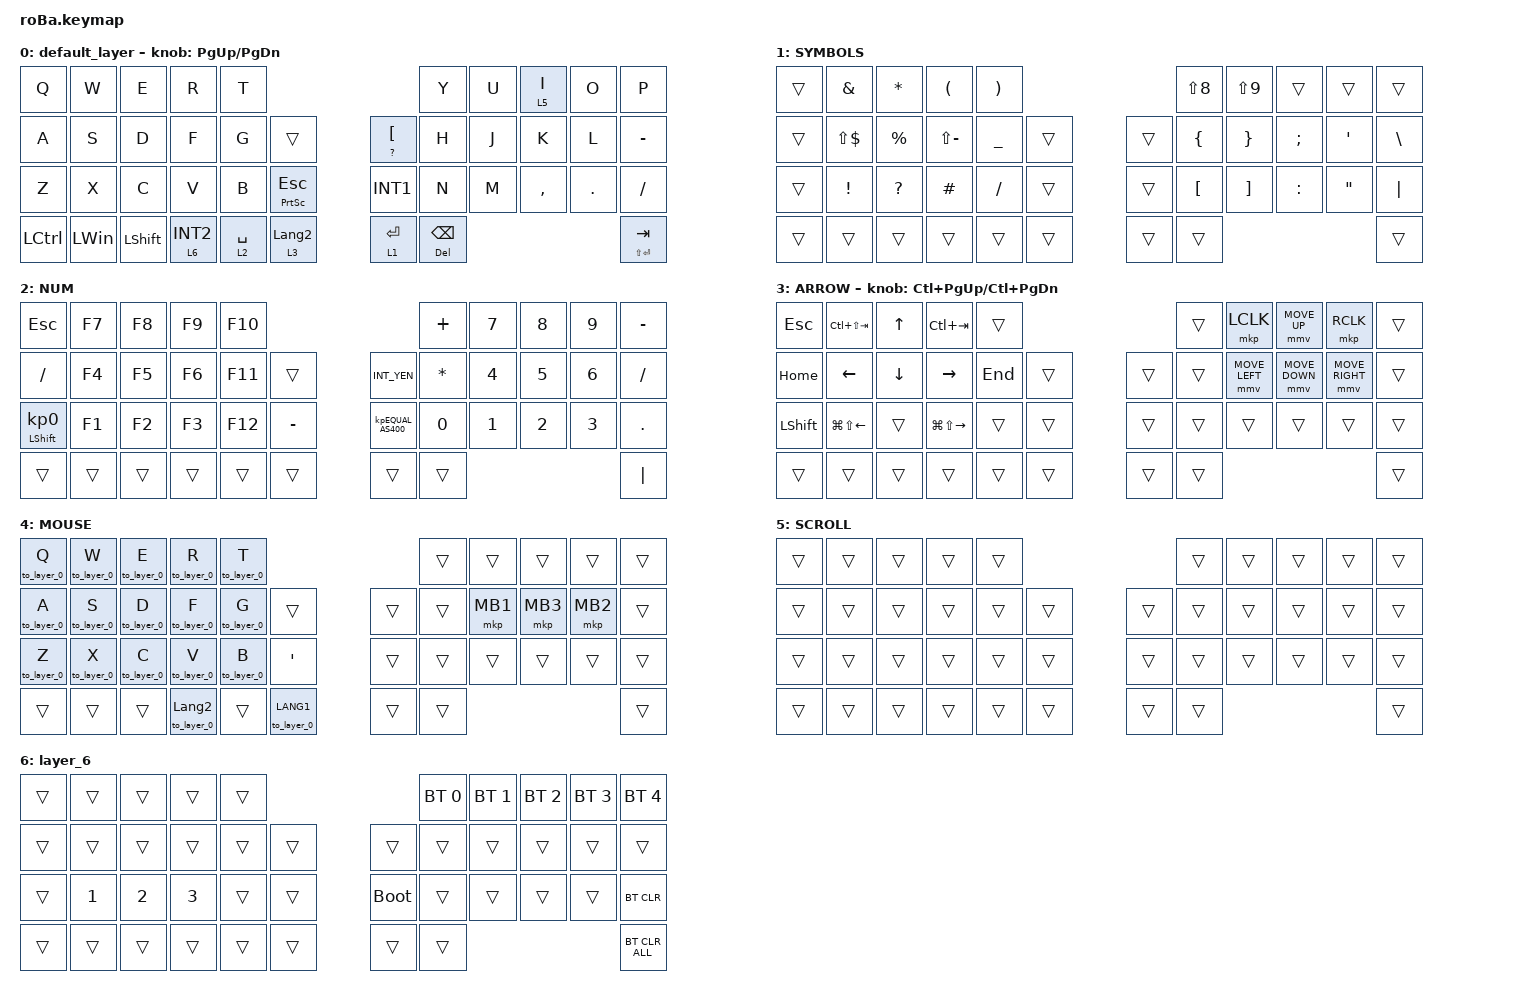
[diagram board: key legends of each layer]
#include <behaviors.dtsi>
#include <dt-bindings/zmk/bt.h>
#include <dt-bindings/zmk/keys.h>
#include <dt-bindings/zmk/pointing.h>

&mt {
    flavor = "balanced";
    quick-tap-ms = <0>;
};

&trackball {
    automouse-layer = <4>;
    scroll-layers = <5>;

    // arrows {
    //     layers = <3>;
    //     bindings =
    //         <&kp RIGHT_ARROW>,
    //         <&kp LEFT_ARROW>,
    //         <&kp UP_ARROW>,
    //         <&kp DOWN_ARROW>;
    //     tick = <10>;
    //     wait-ms = <5>;
    //     tap-ms = <5>;
    // };
};

/ {
    combos {
        compatible = "zmk,combos";

        tab {
            bindings = <&kp TAB>;
            key-positions = <11 12>;
        };

        shift_tab {
            bindings = <&kp LS(TAB)>;
            key-positions = <12 13>;
        };

        muhennkann {
            bindings = <&to_layer_0 INT_MUHENKAN>;
            key-positions = <11 10>;
        };

        double_quotation {
            bindings = <&kp DOUBLE_QUOTES>;
            key-positions = <20 21>;
        };

        eq {
            bindings = <&kp EQUAL>;
            key-positions = <24 25>;
        };
    };

    macros {
        to_layer_0: to_layer_0 {
            compatible = "zmk,behavior-macro-one-param";
            #binding-cells = <1>;
            bindings = <&to 0 &macro_param_1to1 &kp MACRO_PLACEHOLDER>;
            label = "TO_LAYER_0";
        };
    };

    behaviors {
        lt_to_layer_0: lt_to_layer_0 {
            compatible = "zmk,behavior-hold-tap";
            label = "LAYER_TAP_TO_0";
            bindings = <&mo>, <&to_layer_0>;

            #binding-cells = <2>;
            tapping-term-ms = <200>;
        };
    };

    keymap {
        compatible = "zmk,keymap";

        default_layer {
            bindings = <
&kp Q             &kp W         &kp E      &kp R                  &kp T                                                         &kp Y                 &kp U  &lt 5 I    &kp O    &kp P
&kp A             &kp S         &kp D      &kp F                  &kp G        &trans                           &mt QMARK LBKT  &kp H                 &kp J  &kp K      &kp L    &kp MINUS
&kp Z             &kp X         &kp C      &kp V                  &kp B        &mt PRINTSCREEN ESC              &kp INT1        &kp N                 &kp M  &kp COMMA  &kp DOT  &kp SLASH
&kp LEFT_CONTROL  &kp LEFT_WIN  &kp LSHFT  &lt_to_layer_0 6 INT2  &lt 2 SPACE  &lt_to_layer_0 3 LANGUAGE_2      &lt 1 ENTER     &mt DELETE BACKSPACE                             &mt LS(ENTER) TAB
            >;

            sensor-bindings = <&inc_dec_kp PG_UP PAGE_DOWN>;
        };

        SYMBOLS {
            bindings = <
&trans  &kp AMPERSAND    &kp ASTERISK  &kp LEFT_PARENTHESIS  &kp RIGHT_PARENTHESIS                      &kp LS(N8)        &kp LS(N9)         &trans         &trans             &trans
&trans  &kp LS(DOLLAR)   &kp PERCENT   &kp LS(MINUS)         &kp UNDERSCORE         &trans      &trans  &kp LEFT_BRACE    &kp RIGHT_BRACE    &kp SEMICOLON  &kp SINGLE_QUOTE   &kp BACKSLASH
&trans  &kp EXCLAMATION  &kp QUESTION  &kp HASH              &kp SLASH              &trans      &trans  &kp LEFT_BRACKET  &kp RIGHT_BRACKET  &kp COLON      &kp DOUBLE_QUOTES  &kp PIPE
&trans  &trans           &trans        &trans                &trans                 &trans      &trans  &trans                                                                 &trans
            >;
        };

        NUM {
            bindings = <
&kp ESCAPE                  &kp F7  &kp F8  &kp F9  &kp F10                                     &kp PLUS      &kp NUMBER_7  &kp NUMBER_8  &kp NUMBER_9  &kp MINUS
&kp SLASH                   &kp F4  &kp F5  &kp F6  &kp F11  &trans         &kp INT_YEN         &kp ASTERISK  &kp NUMBER_4  &kp NUMBER_5  &kp NUMBER_6  &kp SLASH
&mt LEFT_SHIFT KP_NUMBER_0  &kp F1  &kp F2  &kp F3  &kp F12  &kp MINUS      &kp KP_EQUAL_AS400  &kp NUMBER_0  &kp NUMBER_1  &kp NUMBER_2  &kp NUMBER_3  &kp PERIOD
&trans                      &trans  &trans  &trans  &trans   &trans         &trans              &trans                                                  &kp PIPE
            >;
        };

        ARROW {
            bindings = <
&kp ESCAPE      &kp LC(LS(TAB))         &kp UP_ARROW    &kp LC(TAB)              &trans                       &trans  &mkp LCLK       &mmv MOVE_UP    &mkp RCLK        &trans
&kp HOME        &kp LEFT_ARROW          &kp DOWN_ARROW  &kp RIGHT_ARROW          &kp END  &trans      &trans  &trans  &mmv MOVE_LEFT  &mmv MOVE_DOWN  &mmv MOVE_RIGHT  &trans
&kp LEFT_SHIFT  &kp LG(LS(LEFT_ARROW))  &trans          &kp LG(LS(RIGHT_ARROW))  &trans   &trans      &trans  &trans  &trans          &trans          &trans           &trans
&trans          &trans                  &trans          &trans                   &trans   &trans      &trans  &trans                                                   &trans
            >;

            sensor-bindings = <&inc_dec_kp LC(PAGE_UP) LC(PAGE_DOWN)>;
        };

        MOUSE {
            bindings = <
&to_layer_0 Q  &to_layer_0 W  &to_layer_0 E  &to_layer_0 R           &to_layer_0 T                                 &trans  &trans    &trans    &trans    &trans
&to_layer_0 A  &to_layer_0 S  &to_layer_0 D  &to_layer_0 F           &to_layer_0 G  &trans                 &trans  &trans  &mkp MB1  &mkp MB3  &mkp MB2  &trans
&to_layer_0 Z  &to_layer_0 X  &to_layer_0 C  &to_layer_0 V           &to_layer_0 B  &kp SINGLE_QUOTE       &trans  &trans  &trans    &trans    &trans    &trans
&trans         &trans         &trans         &to_layer_0 LANGUAGE_2  &trans         &to_layer_0 LANG1      &trans  &trans                                &trans
            >;
        };

        SCROLL {
            bindings = <
&trans  &trans  &trans  &trans  &trans                      &trans  &trans  &trans  &trans  &trans
&trans  &trans  &trans  &trans  &trans  &trans      &trans  &trans  &trans  &trans  &trans  &trans
&trans  &trans  &trans  &trans  &trans  &trans      &trans  &trans  &trans  &trans  &trans  &trans
&trans  &trans  &trans  &trans  &trans  &trans      &trans  &trans                          &trans
            >;
        };

        layer_6 {
            bindings = <
&trans  &trans        &trans        &trans        &trans                           &bt BT_SEL 0  &bt BT_SEL 1  &bt BT_SEL 2  &bt BT_SEL 3  &bt BT_SEL 4
&trans  &trans        &trans        &trans        &trans  &trans      &trans       &trans        &trans        &trans        &trans        &trans
&trans  &kp NUMBER_1  &kp NUMBER_2  &kp NUMBER_3  &trans  &trans      &bootloader  &trans        &trans        &trans        &trans        &bt BT_CLR
&trans  &trans        &trans        &trans        &trans  &trans      &trans       &trans                                                  &bt BT_CLR_ALL
            >;
        };
    };
};
